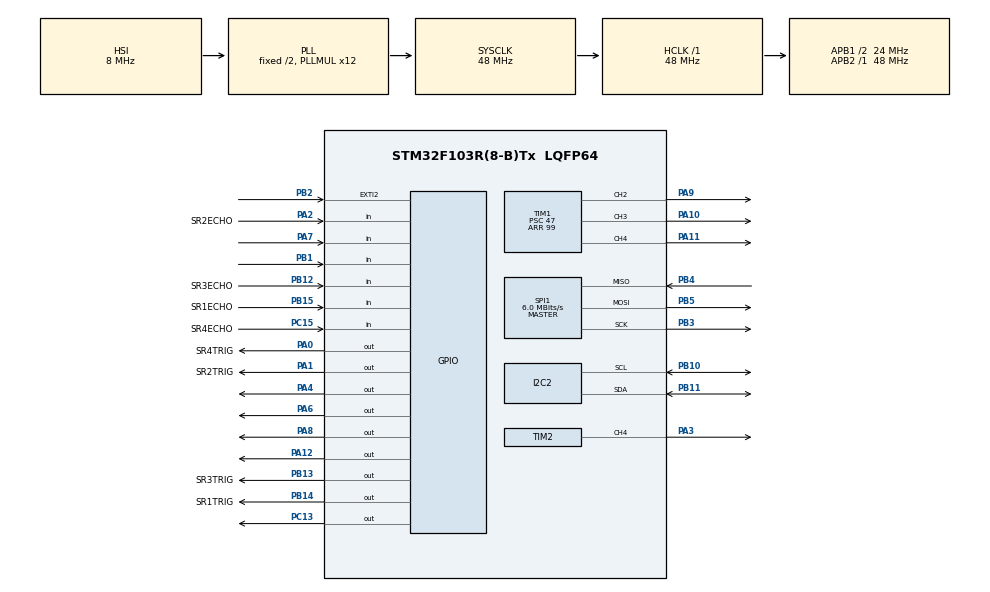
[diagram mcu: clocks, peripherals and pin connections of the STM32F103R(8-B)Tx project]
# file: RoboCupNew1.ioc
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I2C2.I2C_Mode=I2C_Fast
Mcu.Family=STM32F1
Mcu.Name=STM32F103R(8-B)Tx
Mcu.Package=LQFP64
NVIC.EXTI2_IRQn=true\:1\:0\:true\:false\:true\:true\:true\:true
NVIC.PriorityGroup=NVIC_PRIORITYGROUP_4
NVIC.TIM4_IRQn=true\:2\:0\:true\:false\:true\:true\:true\:true
PA0-WKUP.GPIO_Label=SR4TRIG
PA0-WKUP.Signal=GPIO_Output
PA1.GPIO_Label=SR2TRIG
PA1.Signal=GPIO_Output
PA10.Signal=S_TIM1_CH3
PA11.Signal=S_TIM1_CH4
PA12.Signal=GPIO_Output
PA13.Mode=Serial_Wire
PA13.Signal=SYS_JTMS-SWDIO
PA14.Mode=Serial_Wire
PA14.Signal=SYS_JTCK-SWCLK
PA2.GPIO_Label=SR2ECHO
PA2.Signal=GPIO_Input
PA3.Signal=S_TIM2_CH4
PA4.Signal=GPIO_Output
PA6.Signal=GPIO_Output
PA7.Signal=GPIO_Input
PA8.Signal=GPIO_Output
PA9.Signal=S_TIM1_CH2
PB1.Signal=GPIO_Input
PB10.Mode=I2C
PB10.Signal=I2C2_SCL
PB11.Mode=I2C
PB11.Signal=I2C2_SDA
PB12.GPIO_Label=SR3ECHO
PB12.Signal=GPIO_Input
PB13.GPIO_Label=SR3TRIG
PB13.Signal=GPIO_Output
PB14.GPIO_Label=SR1TRIG
PB14.Signal=GPIO_Output
PB15.GPIO_Label=SR1ECHO
PB15.Signal=GPIO_Input
PB2.Signal=GPXTI2
PB3.Mode=Full_Duplex_Master
PB3.Signal=SPI1_SCK
PB4.Mode=Full_Duplex_Master
PB4.Signal=SPI1_MISO
PB5.Mode=Full_Duplex_Master
PB5.Signal=SPI1_MOSI
PC13-TAMPER-RTC.Signal=GPIO_Output
PC15-OSC32_OUT.GPIO_Label=SR4ECHO
PC15-OSC32_OUT.Signal=GPIO_Input
ProjectManager.HeapSize=0x200
ProjectManager.StackSize=0x400
ProjectManager.TargetToolchain=STM32CubeIDE
RCC.AHBFreq_Value=48000000
RCC.APB1CLKDivider=RCC_HCLK_DIV2
RCC.APB1Freq_Value=24000000
RCC.APB1TimFreq_Value=48000000
RCC.APB2Freq_Value=48000000
RCC.APB2TimFreq_Value=48000000
RCC.HCLKFreq_Value=48000000
RCC.PLLMUL=RCC_PLL_MUL12
RCC.SYSCLKFreq_VALUE=48000000
RCC.SYSCLKSource=RCC_SYSCLKSOURCE_PLLCLK
RCC.USBFreq_Value=48000000
SH.S_TIM1_CH2.0=TIM1_CH2,PWM Generation2 CH2
SH.S_TIM1_CH3.0=TIM1_CH3,PWM Generation3 CH3
SH.S_TIM1_CH4.0=TIM1_CH4,PWM Generation4 CH4
SH.S_TIM2_CH4.0=TIM2_CH4,PWM Generation4 CH4
SPI1.BaudRatePrescaler=SPI_BAUDRATEPRESCALER_8
SPI1.CalculateBaudRate=6.0 MBits/s
SPI1.Direction=SPI_DIRECTION_2LINES
SPI1.Mode=SPI_MODE_MASTER
SPI1.VirtualType=VM_MASTER
TIM1.Channel-PWM\ Generation2\ CH2=TIM_CHANNEL_2
TIM1.Channel-PWM\ Generation3\ CH3=TIM_CHANNEL_3
TIM1.Channel-PWM\ Generation4\ CH4=TIM_CHANNEL_4
TIM1.Period=99
TIM1.Prescaler=47
TIM2.Channel-PWM\ Generation4\ CH4=TIM_CHANNEL_4
TIM2.Period=99
TIM2.Prescaler=47
TIM3.Period=0xffff-1
TIM3.Prescaler=47
TIM4.Period=999
TIM4.Prescaler=47
VP_TIM1_VS_ClockSourceINT.Mode=Internal
VP_TIM2_VS_ClockSourceINT.Mode=Internal
VP_TIM3_VS_ClockSourceINT.Mode=Internal
VP_TIM4_VS_ClockSourceINT.Mode=Internal
board=custom

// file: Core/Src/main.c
/* USER CODE BEGIN Header */
/**
  ******************************************************************************
  * @file           : main.c
  * @brief          : Main program body
  ******************************************************************************
  * @attention
  *
  * Copyright (c) 2023 STMicroelectronics.
  * All rights reserved.
  *
  * This software is licensed under terms that can be found in the LICENSE file
  * in the root directory of this software component.
  * If no LICENSE file comes with this software, it is provided AS-IS.
  *
  ******************************************************************************
  */
/* USER CODE END Header */
#include "main.h"
#include "i2c.h"
#include "spi.h"
#include "tim.h"
#include "gpio.h"

/* USER CODE BEGIN Includes */

#include "pixy.h"
#include "mpu6050.h"
#include "Motors.h"
#include "Movement.h"
#include "SR04.h"

int SR_Read_TIM = 500;

#define FRONTOUTOFHALT 100
#define BACKOUTOFHALT 80
#define LEFTOUTOFHALTMIN 45
#define LEFTOUTOFHALTMAX 170
#define RIGHTOUTOFHALTMIN -45
#define RIGHTOUTOFHALTMAX -170

// for robot 0
#define noBallCounterL 15000
// for robot 1
//#define noBallCounterL 16500
/* USER CODE END Includes */

/* USER CODE BEGIN PTD */

// Pixy Variables
BallTransform ballTransform;
int ballInView = 0;
int pixyChecked = 0;

// MPU6050 Variables
MPU6050_t mpu6050;
float gx, gy, gz;
float RateCalibrationRoll = 0, RateCalibrationPitch = 0, RateCalibrationYaw = 0;
float sx, sy, sz;
typedef struct GY {
	float x;
	float y;
	float z;
} GY;
GY Gy = {0, 0, 0};

// Motors Variables
// For robot 0
Motors_t Motors = {
		0,
		0,
		0,
		1,
		0,
		1,
		0,
		0
};

// For robot 1
//Motors_t Motors = {
//		0,
//		1,
//		0,
//		1,
//		0,
//		0,
//		0,
//		0
//};

MotorDef_t Motor_1 = {1, 2, GPIO_PIN_8, GPIOA};

MotorDef_t Motor_2 = {1, 3, GPIO_PIN_4, GPIOA};

MotorDef_t Motor_3 = {2, 4, GPIO_PIN_12, GPIOA};

MotorDef_t Motor_4 = {1, 4, GPIO_PIN_6, GPIOA};

Motor_Defs MotorDefs = {
	&Motor_1,
	&Motor_2,
	&Motor_3,
	&Motor_4
};

// PID Control Derivative
double pve = 0;

// GetBall zones
enum Zones zone = FAR;

enum AttackZones attackZone = MIDDLE;

// Defining SRs
SRDef_t Sr_r = {GPIO_PIN_14, GPIOB, GPIO_PIN_15, GPIOB, 3};

SRDef_t Sr_l = {GPIO_PIN_1, GPIOA, GPIO_PIN_2, GPIOA, 2};

SRDef_t Sr_b = {GPIO_PIN_13, GPIOB, GPIO_PIN_12, GPIOB, 1};

SRDef_t Sr_f = {GPIO_PIN_0, GPIOA, GPIO_PIN_15, GPIOC, 0};

SRDatas_t SRDatas = {0, 0, 0, 0};

SRDef_t *Srs[4] = {&Sr_f, &Sr_b, &Sr_l, &Sr_r};

int MPUCollibrated = 0;

int InGoal = 0;

uint64_t noBallCounter = 0;
uint64_t backToGoalCounter = 0;

enum OutState { IN, OUT, HALTED };

enum OutState outState = IN;

int out_interrupt = 0;
int out_interrupt_counter = 0;

int outDir = 0;

int backingToGoal = 0;

// counter for the timer
uint64_t timcounter = 0;

/* USER CODE END PTD */

void SystemClock_Config(void);
/* USER CODE BEGIN PFP */

void CollibrateMPU6050(int samples) {
	for (int RateCalibrationNumber=0; RateCalibrationNumber < samples; RateCalibrationNumber++) {
	    MPU6050_Read_All(&hi2c2, &mpu6050, 0, 0, 0);
	    RateCalibrationRoll+=mpu6050.Gx;
	    RateCalibrationPitch+=mpu6050.Gy;
	    RateCalibrationYaw+=mpu6050.Gz;
	    HAL_Delay(1);
	}
	RateCalibrationRoll/=samples;
	RateCalibrationPitch/=samples;
	RateCalibrationYaw/=samples;

	MPUCollibrated = 1;
}

void SetupMPU6050(int cSamples) {
	  while (MPU6050_Init(&hi2c2) == 1);

	  CollibrateMPU6050(cSamples);

	  HAL_Delay(500);
}

void ReadMPU6050() {
	MPU6050_Read_All(&hi2c2, &mpu6050, RateCalibrationRoll, RateCalibrationPitch, RateCalibrationYaw);

	sx += mpu6050.Gx;
	sy += mpu6050.Gy;
	sz += mpu6050.Gz;

	Gy.x = sx / 2000;
	Gy.y = sy / 2000;
	Gy.z = sz / 2000;
}

void HAL_TIM_PeriodElapsedCallback(TIM_HandleTypeDef *htim) {
	if(timcounter % 10 == 0 && pixyChecked) {
		getBallPosition(&ballTransform, &ballInView);
	}

	if(timcounter % 2 == 0 && MPUCollibrated) {
		ReadMPU6050();
	}

	if((timcounter + 1) % SR_Read_TIM == 0) {
		ReadAllSRs(Srs, 4, &SRDatas);
	}

	timcounter++;
}

void HAL_GPIO_EXTI_Callback(uint16_t GPIO_Pin) {
	if (GPIO_Pin == GPIO_PIN_2 && outState == IN) {
		out_interrupt = 1;
		out_interrupt_counter++;
	}
}

void ReadOutDirection() {
	outDir = 0;
	outDir += 10 * !HAL_GPIO_ReadPin(GPIOA, GPIO_PIN_7);
	outDir += !HAL_GPIO_ReadPin(GPIOB, GPIO_PIN_1);
}

/* USER CODE END PFP */

/* USER CODE BEGIN 0 */
int teta;

/* USER CODE END 0 */

int main(void)
{

  /* MCU Configuration--------------------------------------------------------*/
	HAL_Init();

  /* Configure the system clock */
  SystemClock_Config();

  /* Initialize all configured peripherals */
  MX_GPIO_Init();
  MX_I2C2_Init();
  MX_TIM2_Init();
  MX_TIM1_Init();
  MX_TIM3_Init();
  MX_SPI1_Init();
  MX_TIM4_Init();
  /* USER CODE BEGIN 2 */

  HAL_Delay(1000);

  HAL_TIM_Base_Start(&htim1);
  HAL_TIM_Base_Start(&htim2);
  HAL_TIM_Base_Start(&htim3);
  HAL_TIM_Base_Start_IT(&htim4);

  // setting up PWM
  TIM1->CCR2 = 0;
  TIM1->CCR3 = 0;
  TIM1->CCR4 = 0;
  TIM2->CCR4 = 0;

  HAL_TIM_PWM_Start(&htim1, TIM_CHANNEL_2);
  HAL_TIM_PWM_Start(&htim1, TIM_CHANNEL_3);
  HAL_TIM_PWM_Start(&htim1, TIM_CHANNEL_4);
  HAL_TIM_PWM_Start(&htim2, TIM_CHANNEL_4);

  HAL_Delay(200);

  SetupMPU6050(750);

  SetupPixy(&pixyChecked);

  HAL_Delay(200);

  HAL_GPIO_WritePin(GPIOC, GPIO_PIN_13, GPIO_PIN_SET);
  /* USER CODE END 2 */

  /* Infinite loop */
  /* USER CODE BEGIN WHILE */
  while (1)
  {
	  if (out_interrupt) {
		  outState = OUT;
		  out_interrupt = 0;
	  }
	  switch(outState) {
	  case IN:
		  if (abs(Gy.z) > 2) {
			  //RotateToZero(Gy.z, &pve, &Motors, &MotorDefs);
		  }
		  else {
			  setPWM(&Motor_1, Motors.pwm1, Motors.e1, &Motors);
			  setPWM(&Motor_2, Motors.pwm2, Motors.e2, &Motors);
			  setPWM(&Motor_3, Motors.pwm3, Motors.e3, &Motors);
			  setPWM(&Motor_4, Motors.pwm4, Motors.e4, &Motors);
		  }

		  if (zone == BALLIN) {
			  Attack(ballTransform.ballx, ballTransform.bally, &Motors, &MotorDefs, &SRDatas, &zone, &attackZone, 25);
		  }
		  if (ballInView) {
			  GetBall(ballTransform.ballx, ballTransform.bally, 25, &zone, &Motors, &MotorDefs, &InGoal, &SRDatas);
			  noBallCounter = 0;
			  backToGoalCounter = 0;
			  backingToGoal = 0;
		  }

		  if (!ballInView) {
			  noBallCounter++;
		  }

		  if (noBallCounter >= noBallCounterL) {
			  noBallCounter = 0;
			  AllMotorsZero(&MotorDefs, &Motors);
			  backToGoalCounter++;

		  }

		  // Back To Goal : For keeper
//		  if (!InGoal && SRDatas.SR_b < GOALDIS_TH && backingToGoal) {
//		  		InGoal = 1;
//		  		AllMotorsZero(&MotorDefs, &Motors);
//		  }
//
//	//	   For robot 1
//		  if (backToGoalCounter >= 2) {
//			  backToGoalCounter = 0;
//			  if (!InGoal) BackToGoal(&Motors, &MotorDefs, &InGoal, &SRDatas);
//			  backingToGoal = 1;
//			  SR_Read_TIM = 200;
//		  }
//
//
//		  if (InGoal && SRDatas.SR_b > GOALDIS_TH) {
//			  InGoal = 0;
//		  }
		  break;
	  case OUT:
		  AllMotorsZero(&MotorDefs, &Motors);
		  ReadOutDirection();
		  if(SRDatas.SR_f <= 155 && SRDatas.SR_b >= 450) {
			  outDir = 0;
		  }
		  outState = HALTED;
		  break;
	  case HALTED:
		  if (ballInView) {
			  if (ballTransform.ballx >= 0) teta = -(atan((double)ballTransform.bally / ballTransform.ballx) * RAD_TO_DEG - 90);
			  else if (ballTransform.ballx < 0) teta = -((atan((double)ballTransform.bally / ballTransform.ballx) + PI)* RAD_TO_DEG - 90);

			  switch (outDir) {
			  case 0:
				  // front
				  outState = IN;
				  if(abs(teta) > FRONTOUTOFHALT) {
					  outState = IN;
					  out_interrupt_counter = 0;
				  }
				  break;
			  case 1:
				  //back
				  if(abs(teta) < BACKOUTOFHALT) {
					  outState = IN;
					  out_interrupt_counter = 0;
				  }
				  break;
			  case 10:
				  // RIGHT
				  if(teta < RIGHTOUTOFHALTMIN && teta > RIGHTOUTOFHALTMAX) {
					  outState = IN;
					  out_interrupt_counter = 0;
				  }
				  break;
			  case 11:
				  // LEFT
				  if(teta > LEFTOUTOFHALTMIN && teta < LEFTOUTOFHALTMAX) {
					  outState = IN;
					  out_interrupt_counter = 0;
				  }
				  break;
			  }
		  }
	  }

    /* USER CODE END WHILE */

  }
}

void SystemClock_Config(void)
{
  RCC_OscInitTypeDef RCC_OscInitStruct = {0};
  RCC_ClkInitTypeDef RCC_ClkInitStruct = {0};

  /** Initializes the RCC Oscillators according to the specified parameters
  * in the RCC_OscInitTypeDef structure.
  */
  RCC_OscInitStruct.OscillatorType = RCC_OSCILLATORTYPE_HSI;
  RCC_OscInitStruct.HSIState = RCC_HSI_ON;
  RCC_OscInitStruct.HSICalibrationValue = RCC_HSICALIBRATION_DEFAULT;
  RCC_OscInitStruct.PLL.PLLState = RCC_PLL_ON;
  RCC_OscInitStruct.PLL.PLLSource = RCC_PLLSOURCE_HSI_DIV2;
  RCC_OscInitStruct.PLL.PLLMUL = RCC_PLL_MUL12;
  if (HAL_RCC_OscConfig(&RCC_OscInitStruct) != HAL_OK)
  {
    Error_Handler();
  }

  /** Initializes the CPU, AHB and APB buses clocks
  */
  RCC_ClkInitStruct.ClockType = RCC_CLOCKTYPE_HCLK|RCC_CLOCKTYPE_SYSCLK
                              |RCC_CLOCKTYPE_PCLK1|RCC_CLOCKTYPE_PCLK2;
  RCC_ClkInitStruct.SYSCLKSource = RCC_SYSCLKSOURCE_PLLCLK;
  RCC_ClkInitStruct.AHBCLKDivider = RCC_SYSCLK_DIV1;
  RCC_ClkInitStruct.APB1CLKDivider = RCC_HCLK_DIV2;
  RCC_ClkInitStruct.APB2CLKDivider = RCC_HCLK_DIV1;

  if (HAL_RCC_ClockConfig(&RCC_ClkInitStruct, FLASH_LATENCY_1) != HAL_OK)
  {
    Error_Handler();
  }
}

void Error_Handler(void)
{
  __disable_irq();
  while (1)
  {
  }
}
